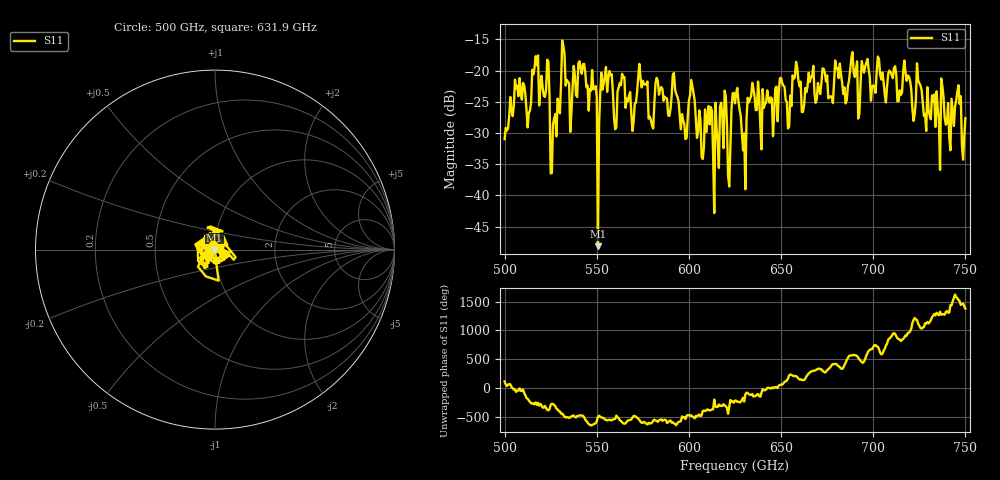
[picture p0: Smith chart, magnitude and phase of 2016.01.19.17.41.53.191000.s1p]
!Created with skrf (http://scikit-rf.org).
# GHz S RI R 50.0
!freq ReS11 ImS11
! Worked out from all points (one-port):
!   401 points, 500 GHz to 750 GHz, reference 50 ohm
!   lowest |S11| = -48.1 dB at 550.6 GHz (marker M1), VSWR 1.01, Z = 49.7 - j0.239 ohm
!   |S11| at or under -10 dB: start of sweep to end of sweep
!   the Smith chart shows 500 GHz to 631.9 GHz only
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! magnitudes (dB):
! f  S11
! 500 GHz  -31.0
! 506.9 GHz  -22.4
! 513.1 GHz  -26.8
! 516.9 GHz  -17.7
! 523.1 GHz  -18.3
! 526.2 GHz  -28.7
! 531.2 GHz  -15.2
! 548.8 GHz  -22.8
! 550.6 GHz  -48.1
! 553.8 GHz  -22.1
! 560 GHz  -29.4
! 562.5 GHz  -22.0
! 570 GHz  -28.1
! 573.8 GHz  -21.2
! 579.4 GHz  -27.9
! 583.1 GHz  -21.7
! 593.8 GHz  -24.2
! 615 GHz  -29.3
! 618.8 GHz  -32.4
! 621.9 GHz  -38.6
! 625 GHz  -25.3
! 630 GHz  -30.1
! 633.8 GHz  -24.1
! 656.2 GHz  -20.8
! 687.5 GHz  -19.9
! 718.8 GHz  -20.8
! 746.2 GHz  -22.4
! 750 GHz  -27.6
